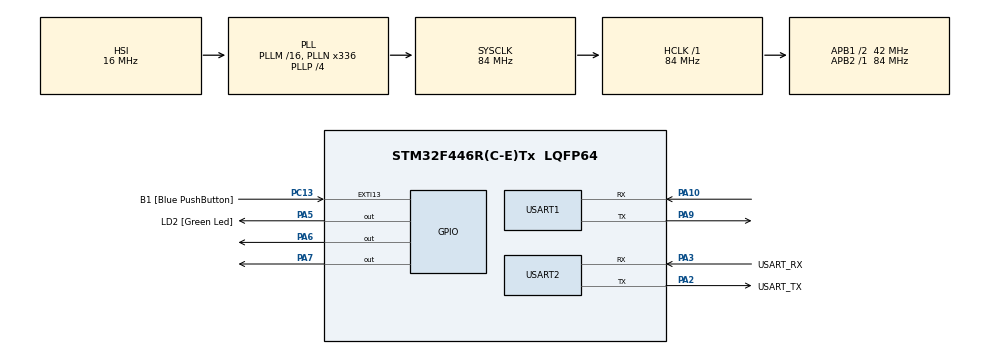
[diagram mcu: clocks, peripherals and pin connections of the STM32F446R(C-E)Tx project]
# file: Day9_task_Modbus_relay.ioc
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Mcu.Family=STM32F4
Mcu.Name=STM32F446R(C-E)Tx
Mcu.Package=LQFP64
NVIC.PriorityGroup=NVIC_PRIORITYGROUP_0
NVIC.USART1_IRQn=true\:0\:0\:false\:false\:true\:true\:true\:true
PA10.Mode=Asynchronous
PA10.Signal=USART1_RX
PA13.GPIO_Label=TMS
PA13.Mode=Serial_Wire
PA13.Signal=SYS_JTMS-SWDIO
PA14.GPIO_Label=TCK
PA14.Mode=Serial_Wire
PA14.Signal=SYS_JTCK-SWCLK
PA2.GPIO_Label=USART_TX
PA2.Mode=Asynchronous
PA2.Signal=USART2_TX
PA3.GPIO_Label=USART_RX
PA3.Mode=Asynchronous
PA3.Signal=USART2_RX
PA5.GPIO_Label=LD2 [Green Led]
PA5.Signal=GPIO_Output
PA6.Signal=GPIO_Output
PA7.Signal=GPIO_Output
PA9.Mode=Asynchronous
PA9.Signal=USART1_TX
PB3.GPIO_Label=SWO
PB3.Signal=SYS_JTDO-SWO
PC13.GPIO_Label=B1 [Blue PushButton]
PC13.GPIO_ModeDefaultEXTI=GPIO_MODE_IT_FALLING
PC13.Signal=GPXTI13
PC14-OSC32_IN.Mode=LSE-External-Oscillator
PC14-OSC32_IN.Signal=RCC_OSC32_IN
PC15-OSC32_OUT.Mode=LSE-External-Oscillator
PC15-OSC32_OUT.Signal=RCC_OSC32_OUT
PH0-OSC_IN.Mode=HSE-External-Oscillator
PH0-OSC_IN.Signal=RCC_OSC_IN
PH1-OSC_OUT.Mode=HSE-External-Oscillator
PH1-OSC_OUT.Signal=RCC_OSC_OUT
ProjectManager.HeapSize=0x200
ProjectManager.StackSize=0x400
ProjectManager.TargetToolchain=STM32CubeIDE
RCC.48MHZClocksFreq_Value=84000000
RCC.AHBFreq_Value=84000000
RCC.APB1CLKDivider=RCC_HCLK_DIV2
RCC.APB1Freq_Value=42000000
RCC.APB1TimFreq_Value=84000000
RCC.APB2Freq_Value=84000000
RCC.APB2TimFreq_Value=84000000
RCC.CortexFreq_Value=84000000
RCC.FLatency-AdvancedSettings=FLASH_LATENCY_2
RCC.HCLKFreq_Value=84000000
RCC.HSE_VALUE=8000000
RCC.HSI_VALUE=16000000
RCC.PLLN=336
RCC.PLLP=RCC_PLLP_DIV4
RCC.SYSCLKFreq_VALUE=84000000
RCC.SYSCLKSource=RCC_SYSCLKSOURCE_PLLCLK
RCC.USBFreq_Value=168000000
RCC.VCOOutputFreq_Value=336000000
USART1.VirtualMode=VM_ASYNC
USART2.VirtualMode=VM_ASYNC
board=NUCLEO-F446RE

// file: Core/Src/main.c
/* USER CODE BEGIN Header */
/*
 * 	TTL-RS485 			STM32
 * 	---------			------
 * 	RX					PA10(RX)
 * 	TX					PA9(TX)
 * 	VCC					3.3
 * 	GND 				GND
 *
 * 	2 CH Relay			STM32			TTL-RS485
 * 	----------			-------			----------
 * 	VCC					5V
 * 	GND					GND
 * 	IN1					PB0(Relay 1)
 * 	IN2					PB1(Relay 2)
 * 	GND_IN
 * 	A+									B-
 * 	B+									A+
 *
 */

/**
  ******************************************************************************
  * @file           : main.c
  * @brief          : Main program body
  ******************************************************************************
  * @attention
  *
  * Copyright (c) 2024 STMicroelectronics.
  * All rights reserved.
  *
  * This software is licensed under terms that can be found in the LICENSE file
  * in the root directory of this software component.
  * If no LICENSE file comes with this software, it is provided AS-IS.
  *
  ******************************************************************************
  */
/* USER CODE END Header */
#include "main.h"

UART_HandleTypeDef huart1;
UART_HandleTypeDef huart2;

/* USER CODE BEGIN PV */
// Buffer for storing received data
volatile uint8_t response[8];
volatile uint8_t responseIndex = 0;
volatile uint8_t responseComplete = 0;
/* USER CODE END PV */

void SystemClock_Config(void);
static void MX_GPIO_Init(void);
static void MX_USART2_UART_Init(void);
static void MX_USART1_UART_Init(void);

/* USER CODE BEGIN 0 */

// Function to calculate CRC16
uint16_t calculateCRC(uint8_t *buf, int len) {
    uint16_t crc = 0xFFFF;
    for (int pos = 0; pos < len; pos++) {
        crc ^= (uint16_t)buf[pos];
        for (int i = 8; i != 0; i--) {
            if ((crc & 0x0001) != 0) {
                crc >>= 1;
                crc ^= 0xA001;
            } else {
                crc >>= 1;
            }
        }
    }
    return crc;
}

// Function to send a Modbus RTU frame
void sendModbusFrame(UART_HandleTypeDef *huart, uint8_t *frame, int len) {
    uint16_t crc = calculateCRC(frame, len - 2);
    frame[len - 2] = crc & 0xFF;
    frame[len - 1] = (crc >> 8) & 0xFF;

    HAL_UART_Transmit(huart, frame, len, HAL_MAX_DELAY);
}

/* USER CODE END 0 */

int main(void)
{

  /* MCU Configuration--------------------------------------------------------*/

  /* Reset of all peripherals, Initializes the Flash interface and the Systick. */
  HAL_Init();

  /* Configure the system clock */
  SystemClock_Config();

  /* Initialize all configured peripherals */
  MX_GPIO_Init();
  MX_USART2_UART_Init();
  MX_USART1_UART_Init();
  /* USER CODE BEGIN 2 */

  uint8_t frame[8];

  /* USER CODE END 2 */

  /* Infinite loop */
  while (1)
  {

  }
}

void SystemClock_Config(void)
{
  RCC_OscInitTypeDef RCC_OscInitStruct = {0};
  RCC_ClkInitTypeDef RCC_ClkInitStruct = {0};

  /** Configure the main internal regulator output voltage
  */
  __HAL_RCC_PWR_CLK_ENABLE();
  __HAL_PWR_VOLTAGESCALING_CONFIG(PWR_REGULATOR_VOLTAGE_SCALE3);

  /** Initializes the RCC Oscillators according to the specified parameters
  * in the RCC_OscInitTypeDef structure.
  */
  RCC_OscInitStruct.OscillatorType = RCC_OSCILLATORTYPE_HSI;
  RCC_OscInitStruct.HSIState = RCC_HSI_ON;
  RCC_OscInitStruct.HSICalibrationValue = RCC_HSICALIBRATION_DEFAULT;
  RCC_OscInitStruct.PLL.PLLState = RCC_PLL_ON;
  RCC_OscInitStruct.PLL.PLLSource = RCC_PLLSOURCE_HSI;
  RCC_OscInitStruct.PLL.PLLM = 16;
  RCC_OscInitStruct.PLL.PLLN = 336;
  RCC_OscInitStruct.PLL.PLLP = RCC_PLLP_DIV4;
  RCC_OscInitStruct.PLL.PLLQ = 2;
  RCC_OscInitStruct.PLL.PLLR = 2;
  if (HAL_RCC_OscConfig(&RCC_OscInitStruct) != HAL_OK)
  {
    Error_Handler();
  }

  /** Initializes the CPU, AHB and APB buses clocks
  */
  RCC_ClkInitStruct.ClockType = RCC_CLOCKTYPE_HCLK|RCC_CLOCKTYPE_SYSCLK
                              |RCC_CLOCKTYPE_PCLK1|RCC_CLOCKTYPE_PCLK2;
  RCC_ClkInitStruct.SYSCLKSource = RCC_SYSCLKSOURCE_PLLCLK;
  RCC_ClkInitStruct.AHBCLKDivider = RCC_SYSCLK_DIV1;
  RCC_ClkInitStruct.APB1CLKDivider = RCC_HCLK_DIV2;
  RCC_ClkInitStruct.APB2CLKDivider = RCC_HCLK_DIV1;

  if (HAL_RCC_ClockConfig(&RCC_ClkInitStruct, FLASH_LATENCY_2) != HAL_OK)
  {
    Error_Handler();
  }
}

static void MX_USART1_UART_Init(void)
{

  huart1.Instance = USART1;
  huart1.Init.BaudRate = 115200;
  huart1.Init.WordLength = UART_WORDLENGTH_8B;
  huart1.Init.StopBits = UART_STOPBITS_1;
  huart1.Init.Parity = UART_PARITY_NONE;
  huart1.Init.Mode = UART_MODE_TX_RX;
  huart1.Init.HwFlowCtl = UART_HWCONTROL_NONE;
  huart1.Init.OverSampling = UART_OVERSAMPLING_16;
  if (HAL_UART_Init(&huart1) != HAL_OK)
  {
    Error_Handler();
  }
  /* USER CODE BEGIN USART1_Init 2 */
  // Enable the UART Receive interrupt
      HAL_UART_Receive_IT(&huart1, (uint8_t *)&response[responseIndex], 1);
  /* USER CODE END USART1_Init 2 */

}

static void MX_USART2_UART_Init(void)
{

  huart2.Instance = USART2;
  huart2.Init.BaudRate = 115200;
  huart2.Init.WordLength = UART_WORDLENGTH_8B;
  huart2.Init.StopBits = UART_STOPBITS_1;
  huart2.Init.Parity = UART_PARITY_NONE;
  huart2.Init.Mode = UART_MODE_TX_RX;
  huart2.Init.HwFlowCtl = UART_HWCONTROL_NONE;
  huart2.Init.OverSampling = UART_OVERSAMPLING_16;
  if (HAL_UART_Init(&huart2) != HAL_OK)
  {
    Error_Handler();
  }

}

static void MX_GPIO_Init(void)
{
  GPIO_InitTypeDef GPIO_InitStruct = {0};

  /* GPIO Ports Clock Enable */
  __HAL_RCC_GPIOC_CLK_ENABLE();
  __HAL_RCC_GPIOH_CLK_ENABLE();
  __HAL_RCC_GPIOA_CLK_ENABLE();
  __HAL_RCC_GPIOB_CLK_ENABLE();

  /*Configure GPIO pin Output Level */
  HAL_GPIO_WritePin(GPIOA, LD2_Pin|GPIO_PIN_6|GPIO_PIN_7, GPIO_PIN_RESET);

  /*Configure GPIO pin : B1_Pin */
  GPIO_InitStruct.Pin = B1_Pin;
  GPIO_InitStruct.Mode = GPIO_MODE_IT_FALLING;
  GPIO_InitStruct.Pull = GPIO_NOPULL;
  HAL_GPIO_Init(B1_GPIO_Port, &GPIO_InitStruct);

  /*Configure GPIO pins : LD2_Pin PA6 PA7 */
  GPIO_InitStruct.Pin = LD2_Pin|GPIO_PIN_6|GPIO_PIN_7;
  GPIO_InitStruct.Mode = GPIO_MODE_OUTPUT_PP;
  GPIO_InitStruct.Pull = GPIO_NOPULL;
  GPIO_InitStruct.Speed = GPIO_SPEED_FREQ_LOW;
  HAL_GPIO_Init(GPIOA, &GPIO_InitStruct);

}

/* USER CODE BEGIN 4 */
// UART RX Complete Callback
void HAL_UART_RxCpltCallback(UART_HandleTypeDef *huart) {
    if (huart->Instance == USART1) {
        responseIndex++;
        if (responseIndex >= 8) {  // Adjust based on expected frame length
            responseComplete = 1;
            responseIndex = 0;  // Reset index for next frame
        }
        // Re-enable UART receive interrupt
        HAL_UART_Receive_IT(&huart1, (uint8_t *)&response[responseIndex], 1);
    }
}
/* USER CODE END 4 */

void Error_Handler(void)
{
  __disable_irq();
  while (1)
  {
  }
}
